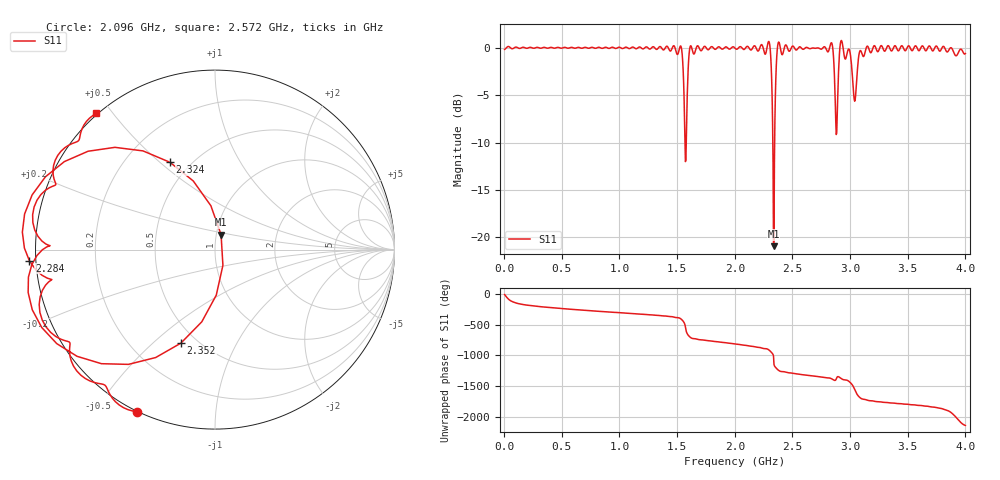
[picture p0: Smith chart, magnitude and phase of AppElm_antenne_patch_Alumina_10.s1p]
! TOUCHSTONE file generated by CST MICROWAVE STUDIO
! Date and time: Thu Jun  9 16:03:45 2022
! Project name: AppElm_antenne_patch_Alumina.cst
! Parameters = {L=30.5; W=41.8; e=0.035; h=1.6; lambda=0.190476; ls=108; w0=1.12; w1=0.373; ws=90; y0=14; y1=10}
! Header version: 2018
! Port assignment regex: !\s*Touchstone port\s*([0-9]+)\s*=\s*(CST MWS port|CST DS port)\s*([0-9]+|Zmin|Zmax)\s*\(\"(.*)\"\)(\s*mode\s*([0-9]+))?.*
! Touchstone port assignment:
! Touchstone port 1 = CST MWS port 1 ("")
# GHz S MA R 50
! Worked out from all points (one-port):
!   1000 points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, 4 MHz to 4 GHz, reference 50 ohm
!   lowest |S11| = -20.9 dB at 2.336 GHz (marker M1), VSWR 1.20, Z = 52.7 + j8.86 ohm
!   |S11| at or under -10 dB: 1.568 GHz to 1.579 GHz (10.65 MHz wide, 0.677 % of centre); 2.33 GHz to 2.346 GHz (15.9 MHz wide, 0.68 % of centre)
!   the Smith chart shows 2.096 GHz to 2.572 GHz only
!   S11 on the Smith chart (normalised r, x): 2.096 GHz: -0.00, -0.63; 2.284 GHz: -0.02, -0.03; 2.324 GHz: 0.39, +0.54; 2.352 GHz: 0.41, -0.62; 2.572 GHz: -0.00, +0.46
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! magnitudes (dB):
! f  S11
! 4 MHz  -0.2
! 504 MHz  0.0
! 1.004 GHz  0.0
! 1.504 GHz  -0.7
! 1.536 GHz  0.1
! 1.572 GHz  -12.0
! 1.584 GHz  -7.0
! 1.604 GHz  -0.6
! 1.62 GHz  0.2
! 2.004 GHz  -0.1
! 2.096 GHz  0.0
! 2.284 GHz  0.3
! 2.308 GHz  -0.2
! 2.324 GHz  -5.2
! 2.336 GHz  -20.9
! 2.352 GHz  -5.1
! 2.368 GHz  -0.2
! 2.38 GHz  0.6
! 2.504 GHz  0.2
! 2.572 GHz  0.1
! 2.836 GHz  0.5
! 2.88 GHz  -9.2
! 2.924 GHz  0.8
! 3.004 GHz  -0.8
! 3.04 GHz  -5.6
! 3.092 GHz  -0.3
! 3.504 GHz  0.2
! 4 GHz  -0.6
